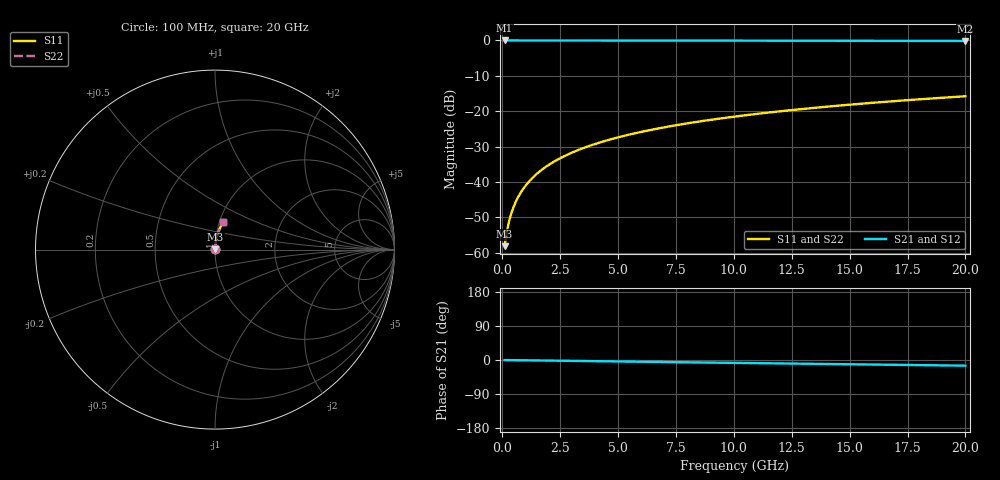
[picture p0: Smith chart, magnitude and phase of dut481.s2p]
! Touchstone file exported from HFSS 2026.1.0
!  File:  C:/ffzhzh/LocalFiles/Ansys_Project_Files/temp_train_BSMRDL_481_1783013842_53980.aedt
!  Generated:  01:38:41 AM Jul  3, 2026
!  Design:  BSMRDL
!  Project:  temp_train_BSMRDL_481_1783013842_53980
! Variables:
!  h_bsmrdl = 5.74um
!  h_ox = 20um
!  h_rdl = 5um
!  h_sub = 80um
!  h_tmrdl = 5um
!  h_tsv = 80um
!  h_via = 3um
!  l_bsmrdl = 180.24um
!  l_sub = 580.24um
!  l_tmrdl = 200um
!  m_sub = 200um
!  pitch = 43.99um
!  r_tsv = 6um
!  s_tmrdl = 10um
!  w_bsmrdl = 15.23um
!  w_sub = 500um
!  w_tmrdl = 12um
!  x_tsv_center1 = 206um
!  x_tsv_center2 = 401.47um
!  x_tsv_center3 = 613.47um
!  x_tsv_center4 = 808.94um
!  x_tsv_center5 = 1020.94um
!  x_tsv_center6 = 1216.41um
# GHz S MA R 50.000000
! Terminal data exported
! Port[1] = BSM_RDL1_1_T1
! Port[2] = BSM_RDL1_1_T2
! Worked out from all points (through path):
!   200 points, 100 MHz to 20 GHz, reference 50 ohm
!   highest |S21| = -0.01 dB at 100 MHz (marker M1); lowest = -0.2 dB at 20 GHz (marker M2)
!   group delay of S21, straight-line fit = 2.07 ps
!   lowest |S11| = -58.1 dB at 100 MHz (marker M3), VSWR 1.00, Z = 50.1 + j0.0919 ohm
!   |S11| at or under -10 dB: start of sweep to end of sweep
!   |S22| runs from -58.1 to -15.8 dB; largest |S21 - S12| = 2e-15
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0.1  0.001244 47.5  0.9992 -0.1  0.9992 -0.1  0.001244 47.5
! Gamma 0 0 0 0
! Port Impedance 50 0 50 0
0.2  0.002022 64.4  0.9991 -0.2  0.9991 -0.2  0.002022 64.4
0.3  0.002863 71.4  0.9991 -0.2  0.9991 -0.2  0.002863 71.4
0.4  0.003716 75.1  0.9991 -0.3  0.9991 -0.3  0.003716 75.1
0.5  0.004571 77.4  0.999 -0.4  0.999 -0.4  0.004571 77.4
0.7  0.006282 80.2  0.999 -0.6  0.999 -0.6  0.006282 80.2
0.8  0.007139 81.0  0.9989 -0.6  0.9989 -0.6  0.007139 81.0
1  0.008857 82.3  0.9989 -0.8  0.9989 -0.8  0.008857 82.3
1.2  0.01058 83.0  0.9988 -0.9  0.9988 -0.9  0.01058 83.0
1.4  0.0123 83.6  0.9988 -1.1  0.9988 -1.1  0.0123 83.6
1.7  0.01488 84.0  0.9987 -1.3  0.9987 -1.3  0.01488 84.0
2  0.01746 84.3  0.9986 -1.6  0.9986 -1.6  0.01746 84.3
2.7  0.02344 84.4  0.9983 -2.1  0.9983 -2.1  0.02344 84.4
3.5  0.03024 84.2  0.9979 -2.7  0.9979 -2.7  0.03024 84.2
4.2  0.03613 83.8  0.9975 -3.2  0.9975 -3.2  0.03613 83.8
5  0.04281 83.4  0.997 -3.8  0.997 -3.8  0.04281 83.4
6.8  0.0577 82.3  0.9958 -5.2  0.9958 -5.2  0.0577 82.3
8.3  0.06998 81.4  0.9948 -6.3  0.9948 -6.3  0.06998 81.4
10.1  0.08461 80.2  0.9933 -7.7  0.9933 -7.7  0.08461 80.2
13.4  0.1111 78.1  0.9903 -10.1  0.9903 -10.1  0.1111 78.1
16.7  0.1372 75.8  0.9866 -12.5  0.9866 -12.5  0.1372 75.8
20  0.1628 73.5  0.9823 -14.9  0.9823 -14.9  0.1628 73.5
